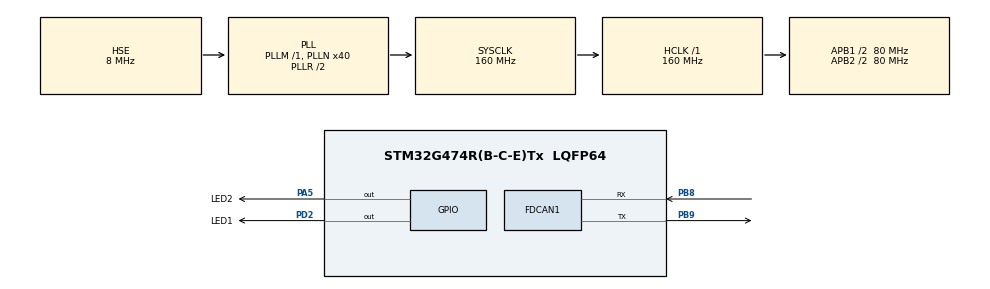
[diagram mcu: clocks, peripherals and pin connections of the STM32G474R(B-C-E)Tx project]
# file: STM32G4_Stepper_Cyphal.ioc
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FDCAN1.AutoRetransmission=ENABLE
FDCAN1.CalculateBaudRateNominal=1000000
FDCAN1.CalculateTimeBitNominal=1000
FDCAN1.CalculateTimeQuantumNominal=25.0
FDCAN1.DataPrescaler=4
FDCAN1.DataSyncJumpWidth=1
FDCAN1.DataTimeSeg1=2
FDCAN1.DataTimeSeg2=2
FDCAN1.FrameFormat=FDCAN_FRAME_FD_BRS
FDCAN1.NominalPrescaler=4
FDCAN1.NominalTimeSeg1=29
FDCAN1.NominalTimeSeg2=10
FDCAN1.StdFiltersNbr=0
FDCAN1.TransmitPause=ENABLE
Mcu.Family=STM32G4
Mcu.Name=STM32G474R(B-C-E)Tx
Mcu.Package=LQFP64
NVIC.PriorityGroup=NVIC_PRIORITYGROUP_4
PA5.GPIO_Label=LED2
PA5.Signal=GPIO_Output
PB8-BOOT0.Mode=FDCAN_Activate
PB8-BOOT0.Signal=FDCAN1_RX
PB9.Mode=FDCAN_Activate
PB9.Signal=FDCAN1_TX
PD2.GPIO_Label=LED1
PD2.Signal=GPIO_Output
PF0-OSC_IN.Mode=HSE-External-Oscillator
PF0-OSC_IN.Signal=RCC_OSC_IN
PF1-OSC_OUT.Mode=HSE-External-Oscillator
PF1-OSC_OUT.Signal=RCC_OSC_OUT
ProjectManager.HeapSize=0x200
ProjectManager.StackSize=0x400
ProjectManager.TargetToolchain=STM32CubeIDE
RCC.ADC12Freq_Value=160000000
RCC.ADC345Freq_Value=160000000
RCC.AHBFreq_Value=160000000
RCC.APB1CLKDivider=RCC_HCLK_DIV2
RCC.APB1Freq_Value=80000000
RCC.APB1TimFreq_Value=160000000
RCC.APB2CLKDivider=RCC_HCLK_DIV2
RCC.APB2Freq_Value=80000000
RCC.APB2TimFreq_Value=160000000
RCC.CortexFreq_Value=160000000
RCC.EXTERNAL_CLOCK_VALUE=12288000
RCC.FDCANCLockSelection=RCC_FDCANCLKSOURCE_PLL
RCC.HCLKFreq_Value=160000000
RCC.HSE_VALUE=8000000
RCC.HSI48_VALUE=48000000
RCC.HSI_VALUE=16000000
RCC.LSE_VALUE=32768
RCC.PLLN=40
RCC.PLLSourceVirtual=RCC_PLLSOURCE_HSE
RCC.SYSCLKFreq_VALUE=160000000
RCC.SYSCLKSource=RCC_SYSCLKSOURCE_PLLCLK
RCC.USBFreq_Value=160000000
RCC.VCOOutputFreq_Value=320000000
VP_SYS_VS_DBSignals.Mode=DisableDeadBatterySignals
board=custom

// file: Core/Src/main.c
/* USER CODE BEGIN Header */
/**
  ******************************************************************************
  * @file           : main.c
  * @brief          : Main program body
  ******************************************************************************
  * @attention
  *
  * Copyright (c) 2024 STMicroelectronics.
  * All rights reserved.
  *
  * This software is licensed under terms that can be found in the LICENSE file
  * in the root directory of this software component.
  * If no LICENSE file comes with this software, it is provided AS-IS.
  *
  ******************************************************************************
  */
/* USER CODE END Header */
#include "main.h"
#include "fdcan.h"
#include "gpio.h"

void SystemClock_Config(void);

int main(void)
{

  /* MCU Configuration--------------------------------------------------------*/

  /* Reset of all peripherals, Initializes the Flash interface and the Systick. */
  HAL_Init();

  /* Configure the system clock */
  SystemClock_Config();

  /* Initialize all configured peripherals */
  MX_GPIO_Init();
  MX_FDCAN1_Init();
  /* USER CODE BEGIN 2 */
  cyphal_can_starter(&hfdcan1);
  setup_cyphal(&hfdcan1);
  /* USER CODE END 2 */

  /* Infinite loop */
  /* USER CODE BEGIN WHILE */
  uint32_t last_hbeat = HAL_GetTick();
  float pos = JOINT_N;
  float vel = JOINT_N;
  float eff = JOINT_N;
  while (1)
  {
      cyphal_loop();
      uint32_t now = HAL_GetTick();
      if ( (now - last_hbeat) >= 100) {
          last_hbeat = now;
          heartbeat();
          pos += 0.01;
          vel += 0.01;
          eff += 0.01;
          send_JS(&pos, &vel, &eff);
          if(pos > 1.5)
          {
        	  pos = 0.0;
        	  vel = 0.0;
        	  eff = 0.0;
          }
      }
    /* USER CODE END WHILE */

  }
}

void SystemClock_Config(void)
{
  RCC_OscInitTypeDef RCC_OscInitStruct = {0};
  RCC_ClkInitTypeDef RCC_ClkInitStruct = {0};

  /** Configure the main internal regulator output voltage
  */
  HAL_PWREx_ControlVoltageScaling(PWR_REGULATOR_VOLTAGE_SCALE1_BOOST);

  /** Initializes the RCC Oscillators according to the specified parameters
  * in the RCC_OscInitTypeDef structure.
  */
  RCC_OscInitStruct.OscillatorType = RCC_OSCILLATORTYPE_HSE;
  RCC_OscInitStruct.HSEState = RCC_HSE_ON;
  RCC_OscInitStruct.PLL.PLLState = RCC_PLL_ON;
  RCC_OscInitStruct.PLL.PLLSource = RCC_PLLSOURCE_HSE;
  RCC_OscInitStruct.PLL.PLLM = RCC_PLLM_DIV1;
  RCC_OscInitStruct.PLL.PLLN = 40;
  RCC_OscInitStruct.PLL.PLLP = RCC_PLLP_DIV2;
  RCC_OscInitStruct.PLL.PLLQ = RCC_PLLQ_DIV2;
  RCC_OscInitStruct.PLL.PLLR = RCC_PLLR_DIV2;
  if (HAL_RCC_OscConfig(&RCC_OscInitStruct) != HAL_OK)
  {
    Error_Handler();
  }

  /** Initializes the CPU, AHB and APB buses clocks
  */
  RCC_ClkInitStruct.ClockType = RCC_CLOCKTYPE_HCLK|RCC_CLOCKTYPE_SYSCLK
                              |RCC_CLOCKTYPE_PCLK1|RCC_CLOCKTYPE_PCLK2;
  RCC_ClkInitStruct.SYSCLKSource = RCC_SYSCLKSOURCE_PLLCLK;
  RCC_ClkInitStruct.AHBCLKDivider = RCC_SYSCLK_DIV1;
  RCC_ClkInitStruct.APB1CLKDivider = RCC_HCLK_DIV2;
  RCC_ClkInitStruct.APB2CLKDivider = RCC_HCLK_DIV2;

  if (HAL_RCC_ClockConfig(&RCC_ClkInitStruct, FLASH_LATENCY_4) != HAL_OK)
  {
    Error_Handler();
  }
}

void Error_Handler(void)
{
  __disable_irq();
  while (1)
  {
  }
}
